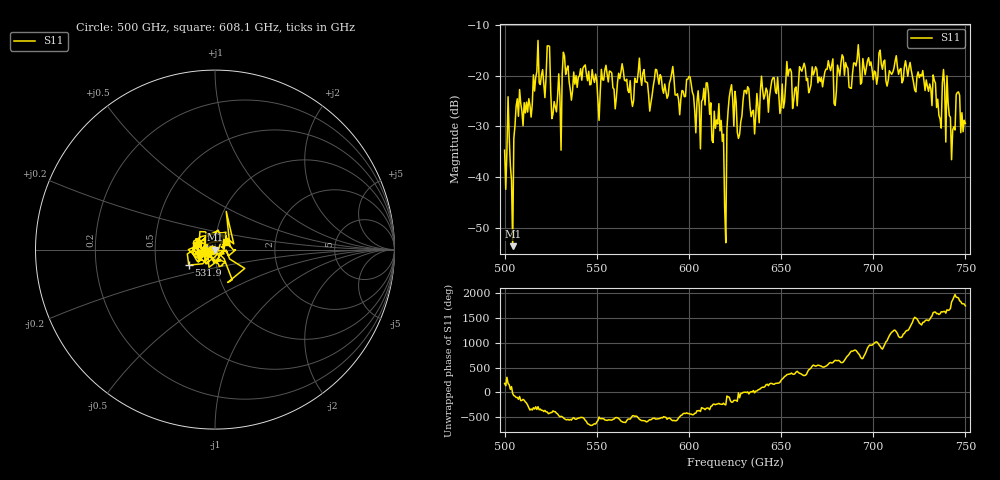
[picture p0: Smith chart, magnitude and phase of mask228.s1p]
!Created with skrf (http://scikit-rf.org).
# GHz S MA R 50.0
!freq magS11 angS11
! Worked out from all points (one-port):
!   401 points, 500 GHz to 750 GHz, reference 50 ohm
!   lowest |S11| = -53.6 dB at 504.4 GHz (marker M1), VSWR 1.00, Z = 50.2 - j0.0818 ohm
!   |S11| at or under -10 dB: start of sweep to end of sweep
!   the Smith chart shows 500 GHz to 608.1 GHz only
!   S11 on the Smith chart (normalised r, x): 500 GHz: 0.96, +0.00; 531.9 GHz: 0.74, -0.13; 608.1 GHz: 1.13, +0.10
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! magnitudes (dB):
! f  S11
! 500 GHz  -34.7
! 504.4 GHz  -53.6
! 506.9 GHz  -24.6
! 513.8 GHz  -25.8
! 516.9 GHz  -20.4
! 523.8 GHz  -14.1
! 526.9 GHz  -25.1
! 531.2 GHz  -19.6
! 531.9 GHz  -15.4
! 562.5 GHz  -20.6
! 579.4 GHz  -25.4
! 590.6 GHz  -19.6
! 593.8 GHz  -23.6
! 608.1 GHz  -22.5
! 617.5 GHz  -28.8
! 619.4 GHz  -45.8
! 620.6 GHz  -30.4
! 621.9 GHz  -24.2
! 625 GHz  -23.1
! 656.2 GHz  -26.5
! 687.5 GHz  -22.4
! 691.2 GHz  -16.9
! 718.8 GHz  -20.1
! 735.6 GHz  -27.8
! 738.8 GHz  -22.3
! 743.1 GHz  -30.7
! 745.6 GHz  -23.3
! 750 GHz  -29.4
